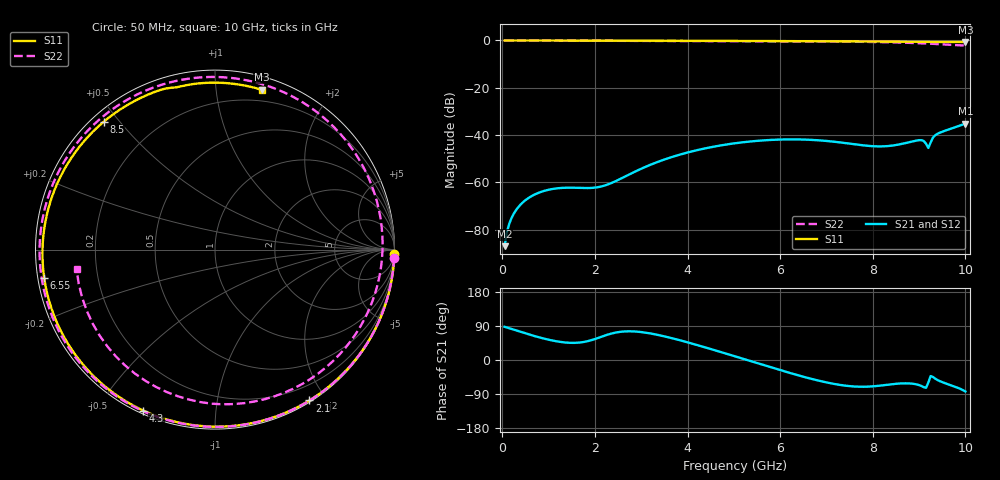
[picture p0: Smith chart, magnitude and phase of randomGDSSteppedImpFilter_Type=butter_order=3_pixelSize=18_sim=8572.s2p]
! freq	dB(S11)	phase(S11)	dB(S12)	phase(S12)
!  dB(S21)	phase(S21)	dB(S22)	phase(S22)
!S-par simulation data
#  GHz  S  DB  R 50
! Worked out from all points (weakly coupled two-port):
!   200 points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, 50 MHz to 10 GHz, reference 50 ohm
!   highest |S21| = -35.16 dB at 10 GHz (marker M1); lowest = -87.0 dB at 50 MHz (marker M2)
!   lowest |S11| = -0.7 dB at 10 GHz (marker M3), VSWR 26.72, Z = 5.19 + j66.5 ohm
!   |S11| at or under -10 dB: nowhere
!   |S22| runs from -2.2 to 0.0 dB; largest |S21 - S12| = 0
!   S11 on the Smith chart (normalised r, x): 50 MHz: 1, -80; 2.1 GHz: 0.02, -1.80; 4.3 GHz: 0.01, -0.65; 6.55 GHz: 0.02, -0.08; 8.5 GHz: 0.03, +0.46; 10 GHz: 0.10, +1.33
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0.05  -0.00 -1.4  -86.96 87.6  -86.96 87.6  -0.01 -2.7
0.1  -0.01 -2.9  -80.99 85.7  -80.99 85.7  -0.01 -5.4
0.35  -0.01 -9.9  -70.36 76.0  -70.36 76.0  -0.02 -18.7
0.65  -0.02 -18.3  -65.61 64.8  -65.61 64.8  -0.04 -34.4
1.2  -0.04 -33.6  -62.47 48.7  -62.47 48.7  -0.07 -62.2
1.75  -0.06 -48.6  -62.38 47.4  -62.38 47.4  -0.10 -88.4
2.1  -0.07 -58.0  -61.90 59.5  -61.90 59.5  -0.12 -104.2
2.8  -0.10 -76.3  -56.07 75.6  -56.07 75.6  -0.15 -134.1
3.4  -0.12 -91.6  -51.03 65.2  -51.03 65.2  -0.17 -158.4
4.3  -0.16 -114.0  -45.95 36.2  -45.95 36.2  -0.22 166.0
5.05  -0.20 -132.5  -43.39 8.6  -43.39 8.6  -0.26 135.7
5.85  -0.26 -152.5  -42.00 -21.2  -42.00 -21.2  -0.32 101.2
6.55  -0.31 -170.6  -41.92 -45.8  -41.92 -45.8  -0.38 68.5
6.7  -0.33 -174.7  -42.05 -50.5  -42.05 -50.5  -0.40 61.1
7.6  -0.41 159.8  -43.87 -69.9  -43.87 -69.9  -0.54 13.7
8.35  -0.48 136.1  -44.60 -64.8  -44.60 -64.8  -0.78 -30.6
8.5  -0.50 131.0  -44.21 -62.8  -44.21 -62.8  -0.85 -40.3
9.05  -0.53 111.2  -42.15 -68.6  -42.15 -68.6  -1.20 -79.3
9.2  -0.59 105.1  -45.44 -59.4  -45.44 -59.4  -1.32 -91.4
9.3  -0.64 101.7  -41.05 -44.8  -41.05 -44.8  -1.43 -99.8
9.65  -0.63 88.0  -37.54 -65.0  -37.54 -65.0  -1.81 -132.8
10  -0.65 73.7  -35.16 -83.2  -35.16 -83.2  -2.17 -172.1
